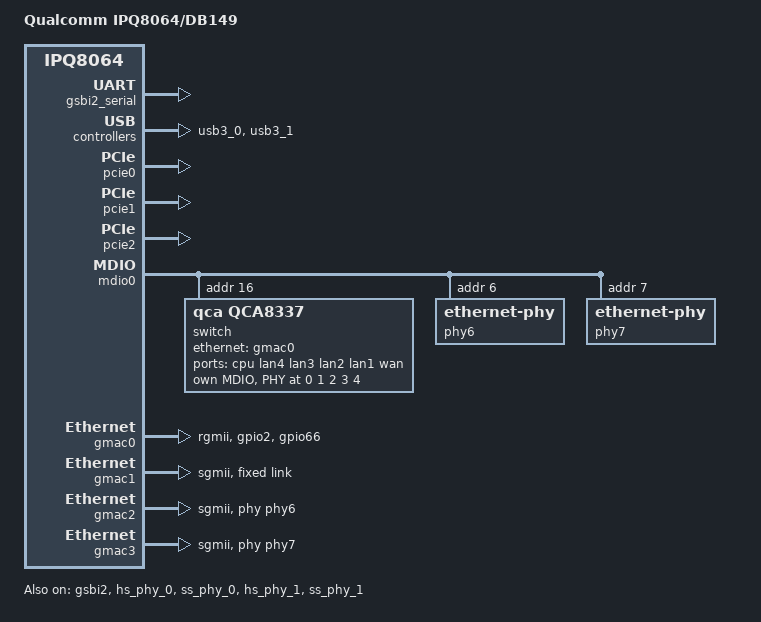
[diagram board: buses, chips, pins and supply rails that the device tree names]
#include "qcom-ipq8064-v1.0.dtsi"

/ {
	model = "Qualcomm IPQ8064/DB149";
	compatible = "qcom,ipq8064-db149", "qcom,ipq8064";

	aliases {
		serial0 = &gsbi2_serial;
	};

	reserved-memory {
		#address-cells = <1>;
		#size-cells = <1>;
		ranges;
		rsvd@41200000 {
			reg = <0x41200000 0x300000>;
			no-map;
		};
	};
};

&qcom_pinmux {
	rgmii0_pins: rgmii0_pins {
		mux {
			pins = "gpio2", "gpio66";
			drive-strength = <8>;
			bias-disable;
		};
	};
};

&gsbi2 {
	qcom,mode = <GSBI_PROT_I2C_UART>;
	status = "okay";

	gsbi2_serial: serial@12490000 {
		status = "okay";
	};
};

&gsbi4 {
	status = "disabled";
};

&gsbi4_serial {
	status = "disabled";
};

&flash {
	m25p,fast-read;

	partition@0 {
		label = "lowlevel_init";
		reg = <0x0 0x1b0000>;
	};

	partition@1 {
		label = "u-boot";
		reg = <0x1b0000 0x80000>;
	};

	partition@2 {
		label = "u-boot-env";
		reg = <0x230000 0x40000>;
	};

	partition@3 {
		label = "caldata";
		reg = <0x270000 0x40000>;
	};

	partition@4 {
		label = "firmware";
		reg = <0x2b0000 0x1d50000>;
	};
};

&hs_phy_0 {
	status = "okay";
};

&ss_phy_0 {
	status = "okay";
};

&usb3_0 {
	status = "okay";
};

&hs_phy_1 {
	status = "okay";
};

&ss_phy_1 {
	status = "okay";
};

&usb3_1 {
	status = "okay";
};

&pcie0 {
	status = "okay";
};

&pcie1 {
	status = "okay";
};

&pcie2 {
	status = "okay";
};

&mdio0 {
	status = "okay";

	pinctrl-0 = <&mdio0_pins>;
	pinctrl-names = "default";

	switch@10 {
		compatible = "qca,qca8337";
		#address-cells = <1>;
		#size-cells = <0>;
		reg = <0x10>;

		ports {
			#address-cells = <1>;
			#size-cells = <0>;

			port@0 {
				reg = <0>;
				label = "cpu";
				ethernet = <&gmac0>;
				phy-mode = "rgmii";
				tx-internal-delay-ps = <1000>;
				rx-internal-delay-ps = <1000>;

				fixed-link {
					speed = <1000>;
					full-duplex;
				};
			};

			port@1 {
				reg = <1>;
				label = "lan4";
				phy-mode = "internal";
				phy-handle = <&phy_port1>;
			};

			port@2 {
				reg = <2>;
				label = "lan3";
				phy-mode = "internal";
				phy-handle = <&phy_port2>;
			};

			port@3 {
				reg = <3>;
				label = "lan2";
				phy-mode = "internal";
				phy-handle = <&phy_port3>;
			};

			port@4 {
				reg = <4>;
				label = "lan1";
				phy-mode = "internal";
				phy-handle = <&phy_port4>;
			};

			port@5 {
				reg = <5>;
				label = "wan";
				phy-mode = "internal";
				phy-handle = <&phy_port5>;
			};

			/*
			port@6 {
				reg = <0>;
				label = "cpu";
				ethernet = <&gmac2>;
				phy-mode = "rgmii";

				fixed-link {
					speed = <1000>;
					full-duplex;
					pause;
					asym-pause;
				};
			};
			*/
		};

		mdio {
			#address-cells = <1>;
			#size-cells = <0>;

			phy_port1: phy@0 {
				reg = <0>;
			};

			phy_port2: phy@1 {
				reg = <1>;
			};

			phy_port3: phy@2 {
				reg = <2>;
			};

			phy_port4: phy@3 {
				reg = <3>;
			};

			phy_port5: phy@4 {
				reg = <4>;
			};
		};
	};

	phy6: ethernet-phy@6 {
		reg = <6>;
	};

	phy7: ethernet-phy@7 {
		reg = <7>;
	};
};

&gmac0 {
	status = "okay";
	phy-mode = "rgmii";
	qcom,id = <0>;

	pinctrl-0 = <&rgmii0_pins>;
	pinctrl-names = "default";
};

&gmac1 {
	status = "okay";
	phy-mode = "sgmii";
	qcom,id = <1>;

	fixed-link {
		speed = <1000>;
		full-duplex;
	};
};

&gmac2 {
	status = "okay";
	phy-mode = "sgmii";
	qcom,id = <2>;
	phy-handle = <&phy6>;
};

&gmac3 {
	status = "okay";
	phy-mode = "sgmii";
	qcom,id = <3>;
	phy-handle = <&phy7>;
};
